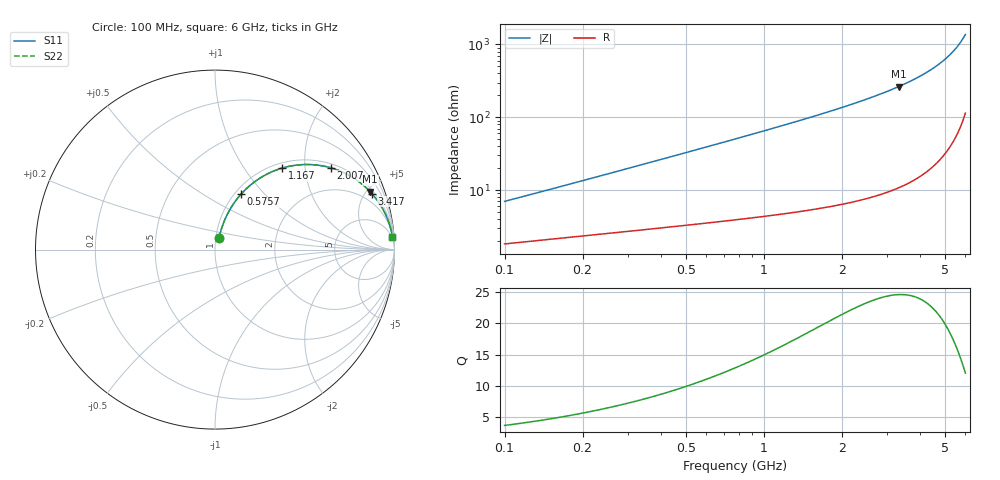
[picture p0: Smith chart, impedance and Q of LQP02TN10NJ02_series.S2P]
!Murata Part Number: LQP02TN10NJ02
!These Parameters are Measured in Series Mode Connection
!  o--[+]--o
!Port1  Port2
!  o-------o
!Freq. Start=100[MHz] Stop=6[GHz], 401[Steps]
# Hz S RI R 50
!Freq.(Hz)	S 11(Real)	S 11(Imag)	S 21(Real)	S 21(Imag)	S 12(Real)	S 12(Imag)	S 22(Real)	S 22(Imag)
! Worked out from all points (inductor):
!   401 points, 100 MHz to 6 GHz, reference 50 ohm
!   read as one part in series: L = 10.7 nH near 102.1 MHz
!   highest Q = 24.6 at 3.314 GHz (marker M1), where L = 12.6 nH
!   S11 on the Smith chart (normalised r, x): 100 MHz: 1.04, +0.13; 575.7 MHz: 1.07, +0.75; 1.167 GHz: 1.09, +1.51; 2.007 GHz: 1.13, +2.72; 3.417 GHz: 1.22, +5.52; 6 GHz: 3, +27
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1e8  0.0221 0.0647  0.9779 -0.0647  0.9779 -0.0647  0.0221 0.0647
1.359444e8  0.0276 0.0866  0.9724 -0.0866  0.9724 -0.0866  0.0276 0.0866
1.755884e8  0.0343 0.1101  0.9657 -0.1101  0.9657 -0.1101  0.0343 0.1101
2.221977e8  0.0433 0.137  0.9567 -0.137  0.9567 -0.137  0.0433 0.137
2.754815e8  0.0549 0.1666  0.9451 -0.1666  0.9451 -0.1666  0.0549 0.1666
3.380648e8  0.0704 0.1997  0.9296 -0.1997  0.9296 -0.1997  0.0704 0.1997
4.064591e8  0.0894 0.2339  0.9106 -0.2339  0.9106 -0.2339  0.0894 0.2339
5.756515e8  0.1444 0.3082  0.8556 -0.3082  0.8556 -0.3082  0.1444 0.3082
8.069695e8  0.2312 0.3854  0.7688 -0.3854  0.7688 -0.3854  0.2312 0.3854
1.085858e9  0.3416 0.4434  0.6584 -0.4434  0.6584 -0.4434  0.3416 0.4434
1.166516e9  0.3729 0.4539  0.6271 -0.4539  0.6271 -0.4539  0.3729 0.4539
1.537857e9  0.5068 0.4742  0.4932 -0.4742  0.4932 -0.4742  0.5068 0.4742
2.006762e9  0.6439 0.4561  0.3561 -0.4561  0.3561 -0.4561  0.6439 0.4561
2.06934e9  0.6594 0.4514  0.3406 -0.4514  0.3406 -0.4514  0.6594 0.4514
2.539449e9  0.7576 0.4077  0.2424 -0.4077  0.2424 -0.4077  0.7576 0.4077
3.053207e9  0.8344 0.3518  0.1656 -0.3518  0.1656 -0.3518  0.8344 0.3518
3.313747e9  0.8641 0.3229  0.1359 -0.3229  0.1359 -0.3229  0.8641 0.3229
3.417082e9  0.8745 0.3115  0.1255 -0.3115  0.1255 -0.3115  0.8745 0.3115
4.066557e9  0.9253 0.2426  0.0747 -0.2426  0.0747 -0.2426  0.9253 0.2426
5.041733e9  0.9689 0.15  0.0311 -0.15  0.0311 -0.15  0.9689 0.15
5.471959e9  0.98 0.1133  0.02 -0.1133  0.02 -0.1133  0.98 0.1133
6e9  0.9889 0.0714  0.0111 -0.0714  0.0111 -0.0714  0.9889 0.0714
